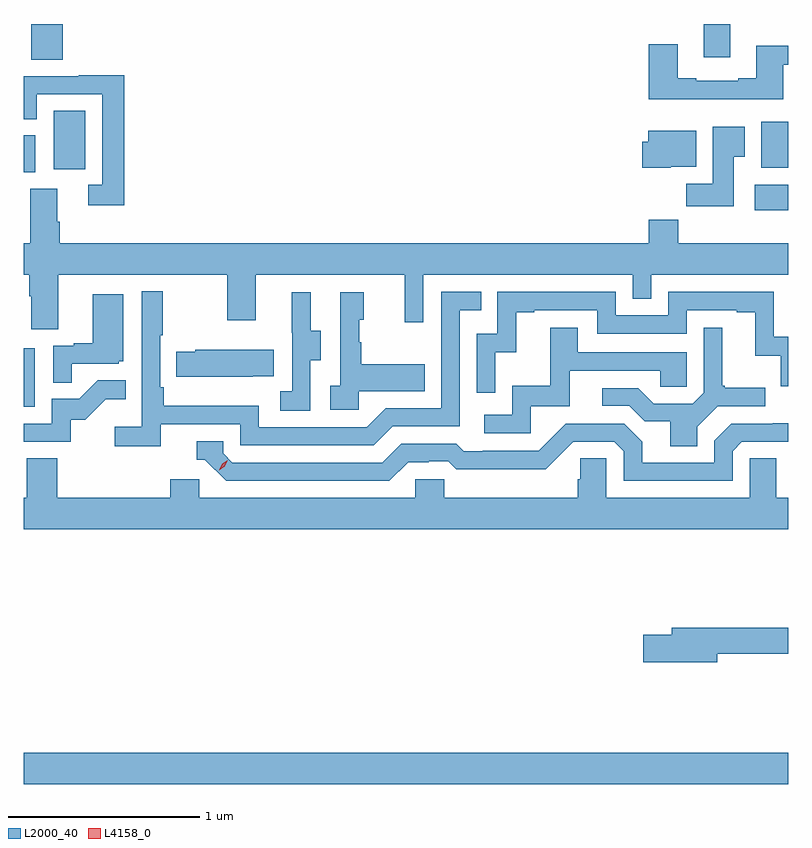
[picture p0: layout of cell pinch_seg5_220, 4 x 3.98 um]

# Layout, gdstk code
import gdstk
lib = gdstk.Library(unit=1e-6, precision=1e-09)
def R(c, l, rs):  # rectangles x0, y0, x1, y1
    for r in rs: c.add(gdstk.rectangle(r[:2], r[2:], *l))
def P(c, l, *ps):  # polygons
    for p in ps: c.add(gdstk.Polygon(p, *l))
L2000_40 = (2000, 40)
L4158_0 = (4158, 0)

pinch_seg5_220 = lib.new_cell('pinch_seg5_220')
R(pinch_seg5_220, L2000_40, [(956.856,896.72,960.856,896.884), (956.856,898.692,956.914,898.999), (960.681,899.72,960.856,899.854), (956.856,899.919,956.916,900.113), (957.014,899.934,957.178,900.241), (960.713,899.942,960.856,900.184), (956.897,900.508,957.062,900.695), (960.413,900.522,960.553,900.695)])
P(pinch_seg5_220, L2000_40, [(960.829,900.483),(960.856,900.483),(960.856,900.58),(960.689,900.58),(960.689,900.412),(960.593,900.412),(960.593,900.399),(960.373,900.399),(960.373,900.412),(960.277,900.412),(960.277,900.589),(960.125,900.589),(960.125,900.302),(960.829,900.302)],
  [(957.383,900.428),(957.145,900.428),(957.145,900.423),(956.856,900.423),(956.856,900.198),(956.925,900.198),(956.925,900.327),(957.267,900.327),(957.267,899.853),(957.195,899.853),(957.195,899.748),(957.383,899.748)],
  [(960.571,900.001),(960.628,900.001),(960.628,900.157),(960.461,900.157),(960.461,899.86),(960.322,899.86),(960.322,899.742),(960.571,899.742)],
  [(960.24,899.948),(960.373,899.948),(960.373,900.136),(960.122,900.136),(960.122,900.078),(960.092,900.078),(960.092,899.942),(960.24,899.942)],
  [(957.044,899.66),(957.031,899.66),(957.031,899.834),(956.891,899.834),(956.891,899.548),(956.856,899.548),(956.856,899.384),(956.885,899.384),(956.885,899.272),(956.897,899.272),(956.897,899.098),(957.037,899.098),(957.037,899.384),(957.922,899.384),(957.922,899.145),(958.069,899.145),(958.069,899.384),(958.85,899.384),(958.85,899.136),(958.947,899.136),(958.947,899.384),(960.042,899.384),(960.042,899.257),(960.138,899.257),(960.138,899.384),(960.856,899.384),(960.856,899.548),(960.281,899.548),(960.281,899.672),(960.125,899.672),(960.125,899.548),(957.044,899.548)],
  [(957.572,898.602),(957.99,898.602),(957.99,898.491),(958.687,898.491),(958.786,898.59),(959.136,898.59),(959.136,899.199),(959.249,899.199),(959.249,899.295),(959.04,899.295),(959.04,898.686),(958.749,898.686),(958.65,898.587),(958.086,898.587),(958.086,898.699),(957.59,898.699),(957.59,898.795),(957.57,898.795),(957.57,899.068),(957.583,899.068),(957.583,899.296),(957.474,899.296),(957.474,898.588),(957.333,898.588),(957.333,898.486),(957.572,898.486)],
  [(959.322,898.979),(959.432,898.979),(959.432,899.187),(959.527,899.187),(959.527,899.199),(959.856,899.199),(959.856,899.076),(960.324,899.076),(960.324,899.199),(960.587,899.199),(960.587,899.187),(960.683,899.187),(960.683,898.961),(960.816,898.961),(960.816,898.8),(960.856,898.8),(960.856,899.059),(960.78,899.059),(960.78,899.295),(960.228,899.295),(960.228,899.172),(959.952,899.172),(959.952,899.295),(959.334,899.295),(959.334,899.076),(959.226,899.076),(959.226,898.767),(959.322,898.767)],
  [(958.608,898.775),(958.955,898.775),(958.955,898.915),(958.621,898.915),(958.621,899.03),(958.611,899.03),(958.611,899.148),(958.636,899.148),(958.636,899.293),(958.512,899.293),(958.512,898.802),(958.461,898.802),(958.461,898.677),(958.608,898.677)],
  [(958.356,898.936),(958.411,898.936),(958.411,899.091),(958.357,899.091),(958.357,899.293),(958.259,899.293),(958.259,899.079),(958.26,899.079),(958.26,898.775),(958.197,898.775),(958.197,898.672),(958.356,898.672)],
  [(957.107,898.917),(957.354,898.917),(957.354,898.932),(957.376,898.932),(957.376,899.281),(957.218,899.281),(957.218,899.026),(957.119,899.026),(957.119,899.013),(957.012,899.013),(957.012,898.819),(957.107,898.819)],
  [(960.379,898.588),(960.486,898.695),(960.736,898.695),(960.736,898.792),(960.523,898.792),(960.523,898.804),(960.511,898.804),(960.511,899.107),(960.414,899.107),(960.414,898.767),(960.357,898.71),(960.151,898.71),(960.07,898.791),(959.883,898.791),(959.883,898.698),(960.024,898.698),(960.104,898.618),(960.239,898.618),(960.239,898.486),(960.379,898.486)],
  [(959.508,898.695),(959.713,898.695),(959.713,898.881),(960.187,898.881),(960.187,898.797),(960.324,898.797),(960.324,898.977),(959.755,898.977),(959.755,899.107),(959.611,899.107),(959.611,898.804),(959.412,898.804),(959.412,898.65),(959.265,898.65),(959.265,898.554),(959.508,898.554)],
  [(958.055,898.853),(958.163,898.853),(958.163,898.99),(957.753,898.99),(957.753,898.98),(957.655,898.98),(957.655,898.85),(958.055,898.85)],
  [(957.102,898.626),(957.178,898.626),(957.285,898.733),(957.389,898.733),(957.389,898.832),(957.245,898.832),(957.147,898.734),(957.003,898.734),(957.003,898.605),(956.856,898.605),(956.856,898.509),(957.102,898.509)],
  [(958.867,898.404),(958.974,898.404),(958.974,898.407),(959.077,898.407),(959.119,898.365),(959.352,898.365),(959.352,898.367),(959.588,898.367),(959.73,898.509),(959.946,898.509),(959.994,898.461),(959.994,898.305),(960.564,898.305),(960.564,898.461),(960.612,898.509),(960.856,898.509),(960.856,898.607),(960.774,898.607),(960.774,898.605),(960.558,898.605),(960.468,898.515),(960.468,898.401),(960.091,898.401),(960.091,898.511),(959.997,898.605),(959.691,898.605),(959.55,898.464),(959.257,898.464),(959.257,898.461),(959.158,898.461),(959.119,898.5),(958.83,898.5),(958.731,898.401),(957.948,898.401),(957.9,898.449),(957.9,898.512),(957.761,898.512),(957.761,898.416),(957.804,898.416),(957.915,898.305),(958.768,898.305)],
  [(960.856,898.216),(960.793,898.216),(960.793,898.424),(960.654,898.424),(960.654,898.216),(959.904,898.216),(959.904,898.424),(959.767,898.424),(959.767,898.314),(959.753,898.314),(959.753,898.216),(959.055,898.216),(959.055,898.314),(958.905,898.314),(958.905,898.216),(957.774,898.216),(957.774,898.314),(957.623,898.314),(957.623,898.216),(957.032,898.216),(957.032,898.424),(956.872,898.424),(956.872,898.216),(956.856,898.216),(956.856,898.052),(960.856,898.052)],
  [(960.484,897.4),(960.856,897.4),(960.856,897.536),(960.245,897.536),(960.245,897.5),(960.096,897.5),(960.096,897.358),(960.484,897.358)])
P(pinch_seg5_220, L4158_0, [(957.878,898.362),(957.878,898.363),(957.894,898.395),(957.925,898.414),(957.925,898.414),(957.925,898.414),(957.909,898.381),(957.878,898.362)])

lib.write_gds('pinch_seg5_220.gds')
